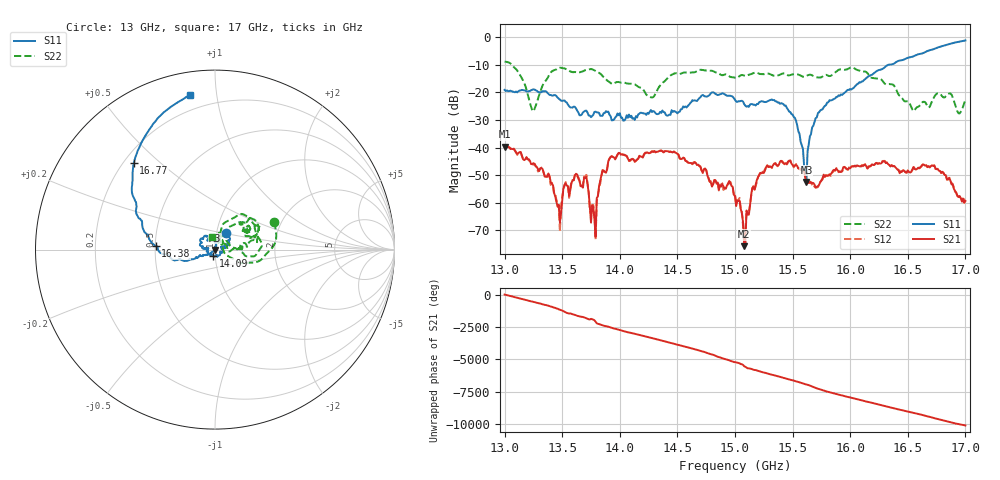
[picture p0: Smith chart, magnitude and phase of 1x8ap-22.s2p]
!Keysight Technologies,P9374A,MY57211807,A.19.30.04
!Date: Friday, May 08, 2026 15:41:33
!Correction: S11(C  2-Port  )
!S21(C  2-Port  )
!S12(C  2-Port  )
!S22(C  2-Port  )
!S2P File: Measurements: S11, S21, S12, S22:
# Hz S  dB  R 50
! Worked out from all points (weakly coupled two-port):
!   401 points, 13 GHz to 17 GHz, reference 50 ohm
!   highest |S21| = -39.73 dB at 13 GHz (marker M1); lowest = -75.8 dB at 15.08 GHz (marker M2)
!   lowest |S11| = -52.5 dB at 15.62 GHz (marker M3), VSWR 1.00, Z = 49.8 - j0.15 ohm
!   |S11| at or under -10 dB: start of sweep to 16.33 GHz
!   |S22| runs from -27.6 to -8.9 dB; largest |S21 - S12| = 0.0005
!   S11 on the Smith chart (normalised r, x): 13 GHz: 1.11, +0.21; 14.09 GHz: 0.98, -0.07; 16.38 GHz: 0.50, +0.02; 16.77 GHz: 0.24, +0.41; 17 GHz: 0.12, +0.84
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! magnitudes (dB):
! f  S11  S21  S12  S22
! 13 GHz  -19.1  -39.7  -39.8  -8.9
! 13.25 GHz  -18.9  -45.7  -46.2  -26.9
! 13.4 GHz  -21.0  -52.6  -53.5  -12.9
! 13.47 GHz  -22.3  -60.8  -60.8  -11.2
! 13.53 GHz  -23.5  -53.0  -52.6  -11.5
! 13.67 GHz  -28.0  -54.0  -53.9  -12.5
! 13.71 GHz  -26.7  -50.7  -49.9  -11.9
! 13.77 GHz  -28.2  -61.6  -60.8  -11.8
! 13.92 GHz  -28.7  -43.4  -43.5  -16.6
! 14.09 GHz  -29.0  -44.6  -44.8  -16.9
! 14.34 GHz  -27.8  -41.3  -41.3  -18.1
! 15 GHz  -22.7  -57.6  -56.9  -14.7
! 15.08 GHz  -24.3  -75.8  -72.2  -13.9
! 15.28 GHz  -23.3  -46.4  -46.6  -13.2
! 15.51 GHz  -28.9  -46.8  -47.2  -13.5
! 15.62 GHz  -52.5  -52.4  -52.1  -14.0
! 15.67 GHz  -32.6  -52.8  -53.7  -13.9
! 16.34 GHz  -9.9  -46.4  -46.4  -17.0
! 16.38 GHz  -9.6  -46.7  -46.7  -17.5
! 16.55 GHz  -6.9  -47.1  -47.1  -26.8
! 16.77 GHz  -3.6  -48.4  -48.2  -20.4
! 17 GHz  -1.2  -59.4  -59.7  -22.9
